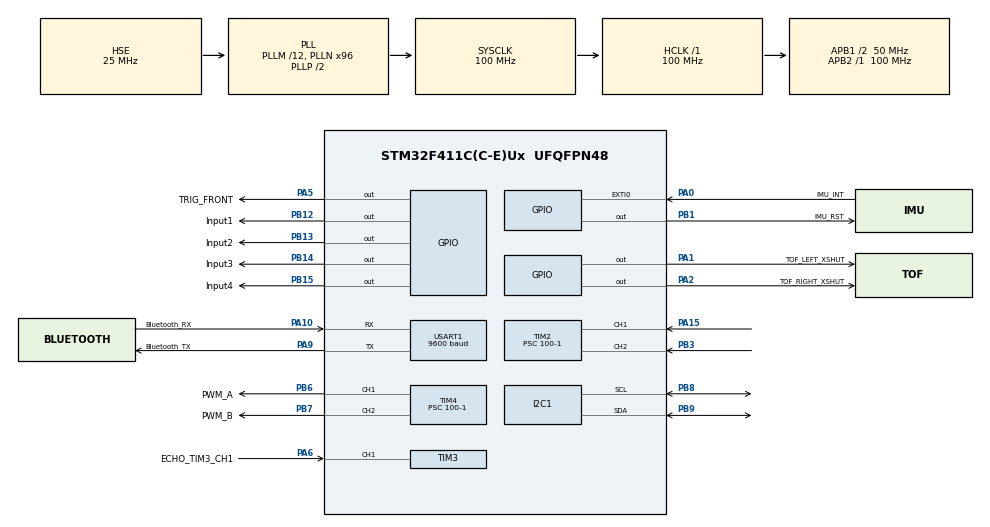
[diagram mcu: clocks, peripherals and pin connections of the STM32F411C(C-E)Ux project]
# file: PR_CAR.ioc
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FREERTOS.Queues01=uartQ,16,uint8_t,0,Dynamic,NULL,NULL
FREERTOS.Tasks01=MotorTask,24,256,StartDefaultTask,Default,NULL,Dynamic,NULL,NULL;SensorTask,8,256,StartTask02,Default,NULL,Dynamic,NULL,NULL;BluetoothTask,8,384,StartTask03,Default,NULL,Dynamic,NULL,NULL
FREERTOS.configUSE_NEWLIB_REENTRANT=1
IWDG.Prescaler=IWDG_PRESCALER_16
Mcu.Family=STM32F4
Mcu.Name=STM32F411C(C-E)Ux
Mcu.Package=UFQFPN48
NVIC.EXTI0_IRQn=true\:5\:0\:true\:false\:true\:true\:true\:true\:true
NVIC.PriorityGroup=NVIC_PRIORITYGROUP_4
NVIC.TIM2_IRQn=true\:5\:0\:false\:false\:true\:true\:true\:true\:true
NVIC.TIM3_IRQn=true\:5\:0\:false\:false\:true\:true\:true\:true\:true
NVIC.USART1_IRQn=true\:5\:0\:false\:false\:true\:true\:true\:true\:true
PA0-WKUP.GPIO_Label=IMU_INT
PA0-WKUP.GPIO_PuPd=GPIO_PULLDOWN
PA0-WKUP.Signal=GPXTI0
PA1.GPIO_Label=TOF_LEFT_XSHUT
PA1.Signal=GPIO_Output
PA10.GPIO_Label=Bluetooth_RX
PA10.Mode=Asynchronous
PA10.Signal=USART1_RX
PA13.Mode=Serial_Wire
PA13.Signal=SYS_JTMS-SWDIO
PA14.Mode=Serial_Wire
PA14.Signal=SYS_JTCK-SWCLK
PA15.Signal=S_TIM2_CH1_ETR
PA2.GPIO_Label=TOF_RIGHT_XSHUT
PA2.Signal=GPIO_Output
PA5.GPIO_Label=TRIG_FRONT
PA5.Signal=GPIO_Output
PA6.GPIO_Label=ECHO_TIM3_CH1
PA6.Signal=S_TIM3_CH1
PA9.GPIO_Label=Bluetooth_TX
PA9.Mode=Asynchronous
PA9.Signal=USART1_TX
PB1.GPIO_Label=IMU_RST
PB1.PinState=GPIO_PIN_SET
PB1.Signal=GPIO_Output
PB12.GPIO_Label=Input1
PB12.Signal=GPIO_Output
PB13.GPIO_Label=Input2
PB13.Signal=GPIO_Output
PB14.GPIO_Label=Input3
PB14.Signal=GPIO_Output
PB15.GPIO_Label=Input4
PB15.Signal=GPIO_Output
PB3.Signal=S_TIM2_CH2
PB6.GPIO_Label=PWM_A
PB6.Signal=S_TIM4_CH1
PB7.GPIO_Label=PWM_B
PB7.Signal=S_TIM4_CH2
PB8.Mode=I2C
PB8.Signal=I2C1_SCL
PB9.Mode=I2C
PB9.Signal=I2C1_SDA
PH0\ -\ OSC_IN.Mode=HSE-External-Oscillator
PH0\ -\ OSC_IN.Signal=RCC_OSC_IN
PH1\ -\ OSC_OUT.Mode=HSE-External-Oscillator
PH1\ -\ OSC_OUT.Signal=RCC_OSC_OUT
ProjectManager.HeapSize=0x200
ProjectManager.StackSize=0x400
ProjectManager.TargetToolchain=CMake
RCC.48MHZClocksFreq_Value=50000000
RCC.AHBFreq_Value=100000000
RCC.APB1CLKDivider=RCC_HCLK_DIV2
RCC.APB1Freq_Value=50000000
RCC.APB1TimFreq_Value=100000000
RCC.APB2Freq_Value=100000000
RCC.APB2TimFreq_Value=100000000
RCC.CortexFreq_Value=100000000
RCC.HCLKFreq_Value=100000000
RCC.HSE_VALUE=25000000
RCC.HSI_VALUE=16000000
RCC.LSE_VALUE=32768
RCC.PLLM=12
RCC.PLLN=96
RCC.PLLSourceVirtual=RCC_PLLSOURCE_HSE
RCC.SYSCLKFreq_VALUE=100000000
RCC.SYSCLKSource=RCC_SYSCLKSOURCE_PLLCLK
RCC.VCOOutputFreq_Value=200000000
SH.S_TIM2_CH1_ETR.0=TIM2_CH1,Input_Capture1_from_TI1
SH.S_TIM2_CH2.0=TIM2_CH2,Input_Capture2_from_TI2
SH.S_TIM3_CH1.0=TIM3_CH1,Input_Capture1_from_TI1
SH.S_TIM4_CH1.0=TIM4_CH1,PWM Generation1 CH1
SH.S_TIM4_CH2.0=TIM4_CH2,PWM Generation2 CH2
TIM2.Channel-Input_Capture1_from_TI1=TIM_CHANNEL_1
TIM2.Channel-Input_Capture2_from_TI2=TIM_CHANNEL_2
TIM2.ICFilter_CH1=8
TIM2.ICFilter_CH2=8
TIM2.Prescaler=100-1
TIM3.Channel-Input_Capture1_from_TI1=TIM_CHANNEL_1
TIM3.Prescaler=100-1
TIM4.AutoReloadPreload=TIM_AUTORELOAD_PRELOAD_ENABLE
TIM4.Channel-PWM\ Generation1\ CH1=TIM_CHANNEL_1
TIM4.Channel-PWM\ Generation2\ CH2=TIM_CHANNEL_2
TIM4.Period=1000-1
TIM4.Prescaler=100-1
USART1.BaudRate=9600
USART1.VirtualMode=VM_ASYNC
VP_FREERTOS_VS_CMSIS_V2.Mode=CMSIS_V2
VP_IWDG_VS_IWDG.Mode=IWDG_Activate
VP_TIM2_VS_ClockSourceINT.Mode=Internal
VP_TIM3_VS_ClockSourceINT.Mode=Internal
VP_TIM4_VS_ClockSourceINT.Mode=Internal
board=custom

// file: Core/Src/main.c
/* USER CODE BEGIN Header */
/**
  ******************************************************************************
  * @file           : main.c
  * @brief          : Main program body
  ******************************************************************************
  * @attention
  *
  * Copyright (c) 2026 STMicroelectronics.
  * All rights reserved.
  *
  * This software is licensed under terms that can be found in the LICENSE file
  * in the root directory of this software component.
  * If no LICENSE file comes with this software, it is provided AS-IS.
  *
  ******************************************************************************
  */
/* USER CODE END Header */
#include "main.h"
#include "cmsis_os.h"
#include "i2c.h"
#include "iwdg.h"
#include "tim.h"
#include "usart.h"
#include "gpio.h"

/* USER CODE BEGIN Includes */

#include "motor.h"   /* Motor_Init + Error_Handler의 Car_Stop */
#include "bno055.h"
#include "debug.h"   /* DebugMonitor_t dbg (dbg.imu_ok 기록) */

/* USER CODE END Includes */

/* USER CODE BEGIN PD */

/* ============ FreeRTOS 구조 (애플리케이션 로직은 전부 main 밖) ============
 * - 초음파 측정/캡처 ISR  → Core/Src/ultra.c
 * - 태스크(SensorTask 측정·필터·IMU폴링 / MotorTask 제어·IWDG) → Core/Src/freertos.c
 * - 주행 상태머신+조향    → Core/Src/drive.c (노브는 drive.h 단일 블록)
 * 여기 main.c는 HAL/페리프 초기화 + 커널 기동만 담당 */

/* USER CODE END PD */

/* USER CODE BEGIN PV */

/* 디버그 미러는 debug.h의 DebugMonitor_t dbg로 통합 (정의 drive.c). dbg.imu_ok만 여기서 기록 */

/* USER CODE END PV */

void SystemClock_Config(void);
void MX_FREERTOS_Init(void);
/* USER CODE BEGIN PFP */

/* 초음파 캡처 콜백/측정/필터 → ultra.c, 테스트 시퀀스 → freertos.c(MotorTask)로 이동 */

/* USER CODE END PFP */

int main(void)
{

  /* MCU Configuration--------------------------------------------------------*/

  /* Reset of all peripherals, Initializes the Flash interface and the Systick. */
  HAL_Init();

  /* Configure the system clock */
  SystemClock_Config();

  /* Initialize all configured peripherals */
  MX_GPIO_Init();
  MX_TIM3_Init();
  MX_TIM4_Init();
  MX_I2C1_Init();
  MX_IWDG_Init();
  MX_USART1_UART_Init();
  MX_TIM2_Init();
  /* USER CODE BEGIN 2 */

  HAL_TIM_Base_Start(&htim2);    /* delay_us 타임베이스(TIM2 free-run 1µs 32-bit — 구 TIM11 승계).
                                    휠 엔코더 캡처(encoder.c)와 공유 → 카운터 리셋 금지.
                                    TIM3 IC start는 ultra.c Ultra_Init(SensorTask) */

  Motor_Init();   /* TIM4 PWM start + 모터 정지 상태로 초기화 */

  /* BNO055는 커널 시작 전에 초기화(HAL_Delay ~800ms) — pre-kernel이라 결정적·안전.
   * 실패해도 주행은 계속(거리-only). IWDG 예산: 위 MX_IWDG_Init(2.048s) 시동 후
   * 본 Init ~800ms + 커널 기동 + SensorTask 첫 사이클(수십ms) → MotorTask 첫 refresh까지 여유 */
  dbg.imu_ok = BNO055_Init() ? 1 : 0;   /* RST→CHIP_ID 확인→IMU모드 */

  /* IMU 초기화가 사용한 watchdog 예산을 커널 시작 전에 다시 확보한다. */
  HAL_IWDG_Refresh(&hiwdg);

  /* USER CODE END 2 */

  /* Init scheduler */
  osKernelInitialize();  /* Call init function for freertos objects (in cmsis_os2.c) */
  MX_FREERTOS_Init();

  /* Start scheduler */
  osKernelStart();

  /* We should never get here as control is now taken by the scheduler */

  /* Infinite loop */
  /* USER CODE BEGIN WHILE */
  while (1)
  {
    /* 도달 불가 — osKernelStart()가 제어를 인계. 구 슈퍼루프(측정/필터/IMU/제어)는
     * freertos.c의 SensorTask/MotorTask + ultra.c로 전부 이전됨 */
    /* USER CODE END WHILE */

  }
}

void SystemClock_Config(void)
{
  RCC_OscInitTypeDef RCC_OscInitStruct = {0};
  RCC_ClkInitTypeDef RCC_ClkInitStruct = {0};

  /** Configure the main internal regulator output voltage
  */
  __HAL_RCC_PWR_CLK_ENABLE();
  __HAL_PWR_VOLTAGESCALING_CONFIG(PWR_REGULATOR_VOLTAGE_SCALE1);

  /** Initializes the RCC Oscillators according to the specified parameters
  * in the RCC_OscInitTypeDef structure.
  */
  RCC_OscInitStruct.OscillatorType = RCC_OSCILLATORTYPE_LSI|RCC_OSCILLATORTYPE_HSE;
  RCC_OscInitStruct.HSEState = RCC_HSE_ON;
  RCC_OscInitStruct.LSIState = RCC_LSI_ON;
  RCC_OscInitStruct.PLL.PLLState = RCC_PLL_ON;
  RCC_OscInitStruct.PLL.PLLSource = RCC_PLLSOURCE_HSE;
  RCC_OscInitStruct.PLL.PLLM = 12;
  RCC_OscInitStruct.PLL.PLLN = 96;
  RCC_OscInitStruct.PLL.PLLP = RCC_PLLP_DIV2;
  RCC_OscInitStruct.PLL.PLLQ = 4;
  if (HAL_RCC_OscConfig(&RCC_OscInitStruct) != HAL_OK)
  {
    Error_Handler();
  }

  /** Initializes the CPU, AHB and APB buses clocks
  */
  RCC_ClkInitStruct.ClockType = RCC_CLOCKTYPE_HCLK|RCC_CLOCKTYPE_SYSCLK
                              |RCC_CLOCKTYPE_PCLK1|RCC_CLOCKTYPE_PCLK2;
  RCC_ClkInitStruct.SYSCLKSource = RCC_SYSCLKSOURCE_PLLCLK;
  RCC_ClkInitStruct.AHBCLKDivider = RCC_SYSCLK_DIV1;
  RCC_ClkInitStruct.APB1CLKDivider = RCC_HCLK_DIV2;
  RCC_ClkInitStruct.APB2CLKDivider = RCC_HCLK_DIV1;

  if (HAL_RCC_ClockConfig(&RCC_ClkInitStruct, FLASH_LATENCY_3) != HAL_OK)
  {
    Error_Handler();
  }
}

/* USER CODE BEGIN 4 */

/* HAL_GPIO_EXTI_Callback(IMU_INT 카운터)은 freertos.c로 이동 */

/* USER CODE END 4 */

void Error_Handler(void)
{
  /* USER CODE BEGIN Error_Handler_Debug */
  /* User can add his own implementation to report the HAL error return state */
  Car_Stop();   /* 오류 발생 시 마지막 PWM/방향 상태가 남지 않도록 모터 정지 */
  __disable_irq();
  while (1)
  {
  }
  /* USER CODE END Error_Handler_Debug */
}

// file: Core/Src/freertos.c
/* USER CODE BEGIN Header */
/**
  ******************************************************************************
  * File Name          : freertos.c
  * Description        : Code for freertos applications
  ******************************************************************************
  * @attention
  *
  * Copyright (c) 2026 STMicroelectronics.
  * All rights reserved.
  *
  * This software is licensed under terms that can be found in the LICENSE file
  * in the root directory of this software component.
  * If no LICENSE file comes with this software, it is provided AS-IS.
  *
  ******************************************************************************
  */
/* USER CODE END Header */

#include "FreeRTOS.h"
#include "task.h"
#include "main.h"
#include "cmsis_os.h"

/* USER CODE BEGIN Includes */
#include "iwdg.h"    /* hiwdg — MotorTask가 큐 수신 성공 시에만 refresh */
#include "motor.h"
#include "drive.h"   /* DriveInputs(큐 메시지 그대로 사용) + 튜닝 노브 */
#include "debug.h"   /* DebugMonitor_t dbg (SWD 미러 통합) */
#include "bno055.h"
#include "ultra.h"
#include "vl53l0x.h" /* 좌/우 측면 ToF (I2C1 공유 — BNO055와 동일 태스크 문맥 직렬화) */
#include "i2c.h"     /* hi2c1 */
#include "usart.h"   /* huart1 — 블루투스 1바이트 IT 수신 + 텔레메트리 IT 송신 */
#include "encoder.h" /* SG-207 휠 엔코더 ×2 (TIM2 CH1=PA15 / CH2=PB3) — 속도 측정 */
#include <stdio.h>   /* snprintf — 텔레메트리 프레임 조립 (정수 전용, float printf 금지) */
#include <string.h>  /* strchr/strcmp — '#KEY=VAL' 파서 */
#include <stdlib.h>  /* atoi */
/* USER CODE END Includes */

/* USER CODE BEGIN PD */

/* MotorTask 큐 수신 timeout [ms]: 정상 최악 센서 사이클(front 6 + left 6 + front 6 + right 6
 * + IMU timeout/복구 여유)의 약 2배 이상. 초과 = 센서 파이프라인 침묵 → Car_Stop + IWDG refresh 생략
 * → 2.048s 지속 시 워치독 리셋 (구 슈퍼루프의 '루프 멈춤=리셋' 의미 보존) */
#define DRIVE_Q_TIMEOUT_MS  150U

/* ---- 측면 ToF(VL53L0X) ---- */
#define TOF_LEFT_ADDR_8BIT  0x60U  /* 좌측 주소 재배치(0x30<<1). 우측은 디폴트 0x52 유지 — 버스 충돌 해소 */
#define TOF_CAP_MM          1000U  /* 상한 캡[mm]: out-of-range(8190/8191)/장거리 지터를 코스 스케일로 클램프 */
#define TOF_BUDGET_US       20000U /* 측정 버짓 = 샘플 주기. 디폴트 33ms는 제어루프(~20ms)보다 느려 측면
                                      반응지연 병목(64% duty서 지연당 3~4.5cm 이동 = 반발존 3cm 초과 → 벽 hug).
                                      20ms(ST 고속 프로파일)로 루프당 새 샘플 1개 확보 (IMG_2977 대응) */
#define TOF_STALE_MS        150U   /* 새 샘플 무갱신 상한. 버짓 20ms의 ~7배 초과 = 센서 정체 → 트임 만료 */

/* ---- 측면 ToF 초근접 신뢰 게이트 (§5.21) ----
 * VL53L0X 실효 사거리(~1.2m, 20ms 버짓·판지 사면은 그 이하) 밖 = "타깃 없음"인데,
 * 칩이 status=valid인 0~40mm 쓰레기값을 간헐 반환한다 (광장 정지 재현: L218 안정
 * vs R 0→37→20→32mm 플리커). 실타깃 초근접은 (a) 접근 연속(직전 median이 이미
 * 근거리)이거나 (b) 표본이 안정(연속 지터 ≤12mm)이다 — 어느 쪽도 아닌 고립·불안정
 * 초근접은 "옆에 아무것도 없음"으로 공표한다. */
#define TOF_NEAR_TRUST_MM    60U   /* 이 미만 초근접값은 맥락/안정성 검증 대상 */
#define TOF_NEAR_CTX_CM      12U   /* 직전 median이 이 안이면 접근 연속 — 즉시 신뢰 */
#define TOF_NEAR_JITTER_MM   12U   /* 연속 suspect 표본 간 허용 지터 */
#define TOF_NEAR_CONFIRM_N    3U   /* 고립 초근접이 실타깃으로 인정될 안정 연속 표본 수 */

/* §5.23 방지턱 피치 게이트: 턱에서 노즈가 들리거나 처박히면 저장착 초음파가 바닥/
 * 허공을 벽으로 읽는다 (mapp_v2 18~24s 검정테이프 구간 F3~16 폭풍 → 가짜 판정턴).
 * 피치가 이 트림을 벗어난 프레임의 전방 에코는 무효 — FRONT_FAIL_LIMIT 연속이면
 * 기존 규칙대로 open 처리. IMU 사망 시 게이트 자동 비활성 (백스톱 불변식). 전방이
 * 자주 먹통이면 dbg.pitch 평지 오프셋부터 확인 후 문턱 상향. */
#define FRONT_PITCH_MAX_DEG   6.0f
#define TOF_LOOP_DELAY_MS   5U     /* SensorTask 루프 양보. 측면이 논블로킹化돼 사라진 대기 보상(CPU 독점 방지) */

/* ---- 텔레메트리 (아키텍처 §4 / dash_board.html 프로토콜) ----
 * TX 프레임: "T,<t_ms>,<f cm>,<L mm>,<R mm>,<h×10>,<vL>,<vR>,<st>,<fl>\n"  (정수만, 최악 ~46B)
 *   st: 0~6 = DriveState, 7 = MANUAL(수동 또는 전원 OFF) — dash_board STATE_NAMES와 1:1 고정
 *   fl: b0 f_valid, b1 side_valid, b2 imu_live, b3 sys_power, b4 sys_mode
 * RX 명령: 레거시 1바이트('1','0','A','M','U','D','L','R','S') +
 *          '#KEY=VAL'+LF 라인 (VT/TEL/HZ/ML/MR — 라인버퍼 24B, 500ms 타임아웃 리셋)
 * 9600bps에서 46B ≈ 48ms — 10Hz(주기 100ms)면 점유 ~48%: 동작하나 여유 없음 → TX는 반드시
 * IT(논블로킹) + 직전 송신 미완료 시 프레임 스킵(dbg.tel_skip). 보레이트 승격은 R3 옵션 */
#define BT_LINE_TIMEOUT_MS  500U   /* '#' 라인 모드 미완성 버퍼 만료 */
#define TEL_HZ_DEFAULT      10U    /* 기본 프레임 레이트 [Hz] (dash_board/앱 처리 상한) */
#define TEL_HZ_MAX          20U

/* USER CODE END PD */

/* USER CODE BEGIN Variables */

/* SensorTask → MotorTask value queue. Depth 2 allows a full frame and one danger event. */
static osMessageQueueId_t driveQ = NULL;

/* ---- 디버그 미러: debug.h의 DebugMonitor_t dbg로 통합 (정의는 drive.c 1곳). 접근 dbg.<member> ---- */

/* ---- 블루투스 원격제어 상태 (BluetoothTask 단일 writer, MotorTask reader) ----
 * 1바이트/int8 원자 접근 → 뮤텍스 불요. volatile = 태스크간 가시성(컴파일러 캐싱 차단) */
volatile uint8_t sys_power = 0;     /* 0=OFF(모터 강제정지) 1=ON. 부팅 OFF(안전) */
volatile uint8_t sys_mode  = 0;     /* 0=자율주행(Drive_Update) 1=수동(manual_* 인가) */
volatile int8_t  manual_left  = 0;  /* 수동 좌 듀티 [-100..100] (+전진 / -후진) */
volatile int8_t  manual_right = 0;  /* 수동 우 듀티 */
volatile uint8_t bt_rx_byte   = 0;  /* USART1 1바이트 IT 수신 버퍼 (RxCpltCallback → uartQ) */

/* SensorTask writes; BluetoothTask reads for telemetry. */
static volatile uint16_t dist_left  = TOF_CAP_MM;
static volatile uint16_t dist_right = TOF_CAP_MM;

/* ---- 텔레메트리 미러 (아키텍처 §2.4 D3/D4 — 필드별 단일 작성자 volatile, 뮤텍스 0 유지) ----
 * 16-bit 정렬 store = M4 원자. 표시용이라 필드 간 ≤1사이클 시차 허용 → 락프리 */
static volatile uint16_t tel_h_x10  = 0;    /* SensorTask: heading×10 [0.1° 단위, 0~3599] */
static volatile uint8_t  tel_sflags = 0;    /* SensorTask: b0 f_valid, b1 side_valid(ToF 양측 기동 성공), b2 imu_live */
static volatile int16_t  tel_vl     = 0;    /* MotorTask: 좌 휠 속도 [cm/s, 부호 = 최근 명령 방향] */
static volatile int16_t  tel_vr     = 0;    /* MotorTask: 우 휠 속도 */
static volatile uint8_t  tel_st     = 7U;   /* MotorTask: 0~6 DriveState / 7 = MANUAL(수동·OFF) */
static volatile int16_t  tel_steer  = 0;    /* MotorTask: 조향 출력 dbg.steer 반올림 [%duty, ±CENTER_STEER_MAX]. 튜닝: 리밋사이클(weaving) 주파수/진폭 관찰용 */
static volatile uint8_t  tel_on     = 1U;   /* BluetoothTask: #TEL=0/1 (기본 ON — 연결 즉시 프레임 흐름) */
static volatile uint8_t  tel_hz     = TEL_HZ_DEFAULT; /* BluetoothTask: #HZ=1..20 */

/* USER CODE END Variables */
/* Definitions for MotorTask */
osThreadId_t MotorTaskHandle;
const osThreadAttr_t MotorTask_attributes = {
  .name = "MotorTask",
  .stack_size = 256 * 4,
  .priority = (osPriority_t) osPriorityNormal,
};
/* Definitions for SensorTask */
osThreadId_t SensorTaskHandle;
const osThreadAttr_t SensorTask_attributes = {
  .name = "SensorTask",
  .stack_size = 256 * 4,
  .priority = (osPriority_t) osPriorityLow,
};
/* Definitions for BluetoothTask */
osThreadId_t BluetoothTaskHandle;
const osThreadAttr_t BluetoothTask_attributes = {
  .name = "BluetoothTask",
  .stack_size = 384 * 4,   /* 256→384: 텔레메트리 snprintf 여유(§2.2). .ioc Tasks01에도 384 반영됨 */
  .priority = (osPriority_t) osPriorityLow,
};
/* Definitions for uartQ */
osMessageQueueId_t uartQHandle;
const osMessageQueueAttr_t uartQ_attributes = {
  .name = "uartQ"
};

/* USER CODE BEGIN FunctionPrototypes */

#if MOTOR_TEST
/* 테스트 시퀀스 전용 대기: IWDG timeout(2.048s)보다 긴 무갱신 대기가 흐르면 시퀀스 중간
 * 리셋 → '전진만 반복' 폭주. 10ms 단위(osDelay)로 갱신하며 대기 (구 test_delay의 RTOS판) */
static void test_delay(uint32_t ms)
{
    for (uint32_t t = 0; t < ms; t += 10U)
    {
        HAL_IWDG_Refresh(&hiwdg);
        osDelay(10);
    }
}
#endif

#if !MOTOR_TEST
/* ---- 측면 ToF 디바이스 (SensorTask 단독 소유) ----
 * 두 센서 모두 부팅 시 디폴트 0x52 — XSHUT 순차 기동으로 좌측만 0x60으로 재배치 */
static VL53L0X tof_left  = { .hi2c = &hi2c1, .addr = VL53L0X_ADDR_DEFAULT_8BIT, .stop_variable = 0 };
static VL53L0X tof_right = { .hi2c = &hi2c1, .addr = VL53L0X_ADDR_DEFAULT_8BIT, .stop_variable = 0 };
static uint8_t tof_left_ok  = 0;   /* Init+연속모드 성공 여부. 실패 센서는 트임(MAX) 고정 */
static uint8_t tof_right_ok = 0;

/* XSHUT 시퀀스로 주소 충돌 해소 후 양쪽 초기화 + 연속측정 시작.
 * 순서: 둘 다 리셋 → 좌만 기동 → 좌 주소 0x52→0x60 → 우 기동(0x52 유지).
 * VL53L0X 주소는 내부 RAM이라 XSHUT low/전원 리셋마다 디폴트 복귀 → 부팅마다 이 시퀀스 필수.
 * osDelay 사용 = 스케줄러 기동 후(SensorTask 문맥) 호출 전제 */
static void Init_ToF_Sensors(void)
{
    HAL_GPIO_WritePin(TOF_LEFT_XSHUT_GPIO_Port,  TOF_LEFT_XSHUT_Pin,  GPIO_PIN_RESET);
    HAL_GPIO_WritePin(TOF_RIGHT_XSHUT_GPIO_Port, TOF_RIGHT_XSHUT_Pin, GPIO_PIN_RESET);
    osDelay(10);

    HAL_GPIO_WritePin(TOF_LEFT_XSHUT_GPIO_Port, TOF_LEFT_XSHUT_Pin, GPIO_PIN_SET);
    osDelay(10);   /* t_boot ~1.2ms — 여유 포함 */
    tof_left_ok  = VL53L0X_SetAddress(&tof_left, TOF_LEFT_ADDR_8BIT);   /* 우측 기동 전 = 버스에 좌측뿐 */
    tof_left_ok &= VL53L0X_Init(&tof_left);

    HAL_GPIO_WritePin(TOF_RIGHT_XSHUT_GPIO_Port, TOF_RIGHT_XSHUT_Pin, GPIO_PIN_SET);
    osDelay(10);
    tof_right_ok = VL53L0X_Init(&tof_right);    /* 디폴트 0x52 — 좌측은 이미 0x60이라 충돌 없음 */

    /* 버짓 20ms 적용 — 실패해도 디폴트 33ms로 동작하므로 ok 플래그는 유지 */
    if (tof_left_ok)  (void)VL53L0X_SetTimingBudget(&tof_left,  TOF_BUDGET_US);
    if (tof_right_ok) (void)VL53L0X_SetTimingBudget(&tof_right, TOF_BUDGET_US);

    if (tof_left_ok)  tof_left_ok  = VL53L0X_StartContinuous(&tof_left);
    if (tof_right_ok) tof_right_ok = VL53L0X_StartContinuous(&tof_right);
}

static uint8_t inc_sat_u8(uint8_t v) { return (v < 255U) ? (uint8_t)(v + 1U) : v; }

/* 측면 ToF 1회 폴링 → mm 미러/cm hist 갱신.
 * 반환값 3상 처리: 1=새 샘플(캡 후 기록), 0=아직(버짓 ~33ms vs 루프 ~20ms — 정상, 직전값 유지),
 * -1=I2C 에러(연속 SIDE_FAIL_LIMIT회 → 트임 만료: stale 근접값이 조향을 오래 붙드는 것 차단).
 * 무에러 정체(TOF_STALE_MS 무갱신)도 만료 — 죽지도 살지도 않은 센서의 옛값 고착 방지 */
static void tof_record_side(VL53L0X *dev,
                            uint8_t alive,
                            uint16_t hist[SIDE_MED_WIN],
                            uint8_t *miss,
                            uint8_t *has_sample,
                            uint32_t *t_fresh,
                            uint8_t *susp_n,
                            uint16_t *susp_mm,
                            volatile uint16_t *out_mm,
                            uint32_t now)
{
    if (!alive)
    {
        *out_mm = TOF_CAP_MM;
        for (uint8_t i = 0U; i < SIDE_MED_WIN; i++) hist[i] = ULTRA_MAX_CM;
        return;
    }

    uint16_t mm;
    int8_t st = VL53L0X_PollRangeMM(dev, &mm);
    if (st > 0)
    {
        *miss = 0U;
        *has_sample = 1U;
        *t_fresh = now;
        if (mm > TOF_CAP_MM) mm = TOF_CAP_MM;           /* ceiling: out-of-range(8190) 지터 캡 */

        /* §5.21 초근접 신뢰 게이트: status를 통과한 잔존 쓰레기(고립·불안정 초근접)를
         * "타깃 없음"으로 공표. 실타깃은 접근 연속 or 안정 연속으로 즉시/60ms 내 통과. */
        if (mm < TOF_NEAR_TRUST_MM)
        {
            uint8_t continuous = (uint8_t)(median_n(hist, SIDE_MED_WIN) < TOF_NEAR_CTX_CM);
            if (!continuous)
            {
                uint16_t jump = (mm > *susp_mm) ? (uint16_t)(mm - *susp_mm)
                                                : (uint16_t)(*susp_mm - mm);
                uint8_t stable = (uint8_t)(*susp_n > 0U && jump <= TOF_NEAR_JITTER_MM);
                *susp_n = stable ? inc_sat_u8(*susp_n) : 1U;
                *susp_mm = mm;
                if (*susp_n < TOF_NEAR_CONFIRM_N)
                {
                    *out_mm = TOF_CAP_MM;
                    for (int i = SIDE_MED_WIN - 1; i > 0; i--) hist[i] = hist[i - 1];
                    hist[0] = ULTRA_MAX_CM;
                    return;
                }
            }
            else
            {
                *susp_n = 0U;
            }
        }
        else
        {
            *susp_n = 0U;
        }

        *out_mm = mm;
        uint16_t cm = mm / 10U;
        if (cm > ULTRA_MAX_CM) cm = ULTRA_MAX_CM;       /* drive 계층 스케일(cm, 80 상한) 정합 */
        if (cm == 0U) cm = 1U;                          /* 0은 center_sanitize가 '트임'으로 오독 — 1cm 바닥 */
        for (int i = SIDE_MED_WIN - 1; i > 0; i--) hist[i] = hist[i - 1];
        hist[0] = cm;
    }
    else if (st < 0)
    {
        if (*miss < 255U && ++(*miss) >= SIDE_FAIL_LIMIT)
        {
            *out_mm = TOF_CAP_MM;
            for (uint8_t i = 0U; i < SIDE_MED_WIN; i++) hist[i] = ULTRA_MAX_CM;
        }
    }
    else if ((now - *t_fresh) > TOF_STALE_MS)
    {
        *out_mm = TOF_CAP_MM;
        for (uint8_t i = 0U; i < SIDE_MED_WIN; i++) hist[i] = ULTRA_MAX_CM;
    }
}

static void sensor_record_front(uint8_t valid,
                                uint16_t cm,
                                uint16_t hist[FRONT_MED_WIN],
                                uint8_t *front_miss,
                                uint16_t *front_filtered)
{
    if (valid)
    {
        *front_miss = 0U;
        for (int i = FRONT_MED_WIN - 1; i > 0; i--) hist[i] = hist[i - 1];
        hist[0] = cm;
    }
    else if (*front_miss < 255U)
    {
        (*front_miss)++;
        if (*front_miss >= FRONT_FAIL_LIMIT)
        {
            for (uint8_t i = 0U; i < FRONT_MED_WIN; i++) hist[i] = ULTRA_MAX_CM;
        }
    }

    *front_filtered = median_n(hist, FRONT_MED_WIN);
    dbg.front_miss = *front_miss;
}

/* Front-only frames are urgent brake events, not normal FSM samples. */
static uint8_t sensor_put_front_danger_event(uint16_t f,
                                             uint8_t f_valid,
                                             uint8_t front_miss,
                                             float heading)
{
    if (f_valid && f < FRONT_DANGER_CM)
    {
        DriveInputs early;
        early.f          = f;
        early.l          = ULTRA_MAX_CM;
        early.r          = ULTRA_MAX_CM;
        early.f_valid    = f_valid;
        early.side_valid = 0U;
        early.left_valid = 0U;
        early.right_valid = 0U;
        early.front_miss = front_miss;
        early.heading    = heading;
        early.imu_live   = 0U;
        early.now        = HAL_GetTick();
        if (osMessageQueuePut(driveQ, &early, 0U, 0U) == osOK) return 1U;
        dbg.q_drop++;
    }
    return 0U;
}

/* ---- BNO055 heading 180° 재영점 (SensorTask 단독 소유 — 뮤텍스 불요) ----
 * 부팅 후 첫 유효 Yaw를 180°로 영점 보정: 시작 자세 근처에서 0/360 경계를 밟지 않아
 * 직진 중 값이 170~190° 범위에서 연속으로 움직인다 (359↔0 점프 제거).
 * 주의 1: drive.c 제어는 wrap180() 차분만 사용 → 오프셋 유무와 제어 거동 무관.
 * 주의 2: BNO055_Init()을 런타임에 재호출하는 코드를 추가하면 칩 내부 heading이
 *         0으로 리셋되므로 yaw_offset_latched도 함께 0으로 클리어할 것.
 * 부수 효과: 보정 후 heading이 항상 [0,360) 보장 → tel_h_x10 음수 캐스팅 위험 제거 */
static float   initial_yaw_offset = 0.0f;   /* 부팅 후 첫 유효 Raw Yaw [deg] */
static uint8_t yaw_offset_latched = 0U;     /* 1 = 영점 래치 완료 */

static bool Sensor_ReadHeading(BNO055_Euler *e)
{
    if (!BNO055_ReadEuler(e)) return false;   /* 실패 시 *e 미변경 — 직전값 유지 규약 그대로 */

    if (!yaw_offset_latched)
    {
        initial_yaw_offset = e->heading;      /* 첫 유효 샘플 = 새 영점 */
        yaw_offset_latched = 1U;
    }

    /* raw − offset + 180 → [0, 360) 정규화.
     * raw−offset ∈ (−360, 360) → +180 후 범위 (−180, 540) = 방어 분기 각 1회로 충분 */
    float h = (e->heading - initial_yaw_offset) + 180.0f;
    if      (h >= 360.0f) h -= 360.0f;
    else if (h <    0.0f) h += 360.0f;
    e->heading = h;
    return true;
}
#endif

/* ---- 블루투스 텔레메트리/파서 헬퍼 (BluetoothTask 단독 소유) ----
 * ⚠ 반드시 이 USER CODE 블록 안에 둘 것 — CubeMX 재생성 시 블록 밖 코드는 삭제된다 */

static char     bt_line[24];      /* 아키텍처 §4.3: '#KEY=VAL' 라인버퍼 ≤24B */
static uint8_t  bt_llen  = 0;
static uint8_t  bt_lmode = 0;     /* 1 = '#' 수신 후 라인 조립 중 */
static uint32_t bt_t_line = 0;    /* 라인 시작 시각 — BT_LINE_TIMEOUT_MS 만료용 */

/* '#KEY=VAL' 파싱 → 원자 반영. 모터 직접 호출 금지 원칙 유지(변수 경유만).
 * VT는 속도 PI(R4) 전까지 저장만(dbg.v_target) — 대시보드 #VT 버튼이 에러 없이 동작. */
static void BT_ParseLine(char *s)
{
    char *eq = strchr(s, '=');
    if (eq == NULL) return;
    *eq = '\0';
    int v = atoi(eq + 1);

    if      (strcmp(s, "VT") == 0)  { dbg.v_target = (int16_t)v; }
    else if (strcmp(s, "TEL") == 0) { tel_on = (v != 0) ? 1U : 0U; }
    else if (strcmp(s, "HZ") == 0)  { if (v < 1) v = 1; if (v > (int)TEL_HZ_MAX) v = (int)TEL_HZ_MAX;
                                      tel_hz = (uint8_t)v; }
    else if (strcmp(s, "ML") == 0)  { if (sys_mode) { if (v > 100) v = 100; if (v < -100) v = -100;
                                      manual_left  = (int8_t)v; } }   /* R2 duty 스윕 캘리브용 */
    else if (strcmp(s, "MR") == 0)  { if (sys_mode) { if (v > 100) v = 100; if (v < -100) v = -100;
                                      manual_right = (int8_t)v; } }
    /* 미정의 KEY 무시 — 프로토콜 전방 호환 */
}

/* 수신 1바이트 처리: 라인 모드 우선, 아니면 레거시 1바이트 명령 */
static void BT_HandleByte(uint8_t b)
{
    if (bt_lmode)
    {
        if (b == '\n' || b == '\r')
        {
            bt_line[bt_llen] = '\0';
            BT_ParseLine(bt_line);
            bt_lmode = 0U;
        }
        else if (bt_llen < (uint8_t)(sizeof(bt_line) - 1U))
        {
            bt_line[bt_llen++] = (char)b;
        }
        else
        {
            bt_lmode = 0U;   /* 오버플로 → 라인 폐기 (프레이밍 재동기) */
        }
        return;
    }

    if (b == '#')
    {
        bt_lmode  = 1U;
        bt_llen   = 0U;
        bt_t_line = HAL_GetTick();
        return;
    }

    switch (b)
    {
      /* ---- 시스템 전원 ---- */
      case '1':                                  /* ON */
        sys_power = 1;
        break;
      case '0':                                  /* OFF: 수동값 리셋 + 정지(어느 모드든) */
        sys_power = 0;
        manual_left = 0;
        manual_right = 0;
        break;

      /* ---- 모터 모드 (모드 선택 = 전원 ON 커플링) ----
       * 앱에 '1'(전원 ON) 버튼이 없어 sys_power가 0에 묶여 모터가 강제정지하던 문제 수정.
       * 모드를 고르는 것 = 주행 의사 → sys_power=1. 부팅은 여전히 OFF(안전). 정지는 '0'. */
      case 'A':                                  /* 자율주행 */
        sys_mode = 0;
        sys_power = 1;
        break;
      case 'M':                                  /* 수동: 진입 시 정지값으로 시작(돌발 구동 방지) */
        sys_mode = 1;
        sys_power = 1;
        manual_left = 0;
        manual_right = 0;
        break;

      /* ---- 수동 조작 (Manual 모드 전용) ---- */
      case 'U': if (sys_mode) { manual_left =  80; manual_right =  80; } break;  /* 전진 */
      case 'D': if (sys_mode) { manual_left = -80; manual_right = -80; } break;  /* 후진 */
      case 'L': if (sys_mode) { manual_left = -60; manual_right =  60; } break;  /* 좌회전 */
      case 'R': if (sys_mode) { manual_left =  60; manual_right = -60; } break;  /* 우회전 */
      case 'S': if (sys_mode) { manual_left =   0; manual_right =   0; } break;  /* 정지 */

      default:                                   /* 미정의 바이트 무시 */
        break;
    }
}

/* 텔레메트리 프레임 조립 + IT 송신. 버퍼는 IT 송신 완료까지 유지 필요 → static.
 * 직전 프레임 송신 미완료(gState != READY)면 이번 프레임 스킵 — 9600bps 병목의 우아한 강등 */
static void BT_SendFrame(void)
{
    static char fb[64];

    if (huart1.gState != HAL_UART_STATE_READY)
    {
        dbg.tel_skip++;
        return;
    }

    uint8_t fl = (uint8_t)(tel_sflags
                         | (sys_power ? 0x08U : 0U)
                         | (sys_mode  ? 0x10U : 0U));
    int n = snprintf(fb, sizeof fb, "T,%lu,%u,%u,%u,%u,%d,%d,%u,%u,%d\n",
                     (unsigned long)HAL_GetTick(),
                     (unsigned)dbg.front,          /* 전방 [cm, 80 캡] */
                     (unsigned)dist_left,          /* 좌 ToF [mm, 1000 캡] */
                     (unsigned)dist_right,         /* 우 ToF [mm] */
                     (unsigned)tel_h_x10,          /* heading×10 [0.1°] */
                     (int)tel_vl, (int)tel_vr,     /* 휠 속도 [cm/s, 부호=명령방향] */
                     (unsigned)tel_st,             /* 0~6 DriveState / 7 MANUAL */
                     (unsigned)fl,                 /* 플래그: b0 f_valid b1 side_valid b2 imu_live b3 power b4 mode */
                     (int)tel_steer);              /* [추가] 조향 출력 [%duty] — 프레임 末 append (기존 idx0~9 불변, 앱 파서 하위호환) */
    if (n <= 0 || n >= (int)sizeof fb) return;

    /* USART1 ISR(RxCplt 재무장 Receive_IT)과 HAL 락 충돌 방지: 짧은 임계구역으로 배타.
     * 미보호 시 드물게 (a) TX가 HAL_BUSY 오탐, (b) RX 재무장 유실(수신 영구정지) 가능 */
    taskENTER_CRITICAL();
    HAL_StatusTypeDef st = HAL_UART_Transmit_IT(&huart1, (uint8_t *)fb, (uint16_t)n);
    taskEXIT_CRITICAL();

    if (st == HAL_OK) dbg.tel_tx++;
    else              dbg.tel_skip++;
}

/* USER CODE END FunctionPrototypes */

void StartDefaultTask(void *argument);
void StartTask02(void *argument);
void StartTask03(void *argument);

void MX_FREERTOS_Init(void); /* (MISRA C 2004 rule 8.1) */

void MX_FREERTOS_Init(void) {

  /* Create the queue(s) */
  /* creation of uartQ */
  uartQHandle = osMessageQueueNew (16, sizeof(uint8_t), &uartQ_attributes);

  /* USER CODE BEGIN RTOS_QUEUES */
  driveQ = osMessageQueueNew(2, sizeof(DriveInputs), NULL);
  /* 생성 실패(NULL) 시 put/get이 전부 에러 → MotorTask가 Car_Stop + refresh 생략 → IWDG 리셋.
   * heap_4 15KB에 큐 ~수십B라 실패 가능성 사실상 없음 — 별도 처리 불요 */

  /* 블루투스 수신 개시: 최초 1바이트 IT 무장 (이후 RxCpltCallback가 자가 재무장).
   * uartQ 생성 직후라 콜백 put 대상 존재. USART1은 스케줄러 전 init 완료 → 지금 무장 안전 */
  __HAL_UART_CLEAR_OREFLAG(&huart1);  /* 부팅 라인 글리치로 선-박힌 ORE 제거 후 무장 */
  HAL_UART_Receive_IT(&huart1, (uint8_t *)&bt_rx_byte, 1);
  /* USER CODE END RTOS_QUEUES */

  /* Create the thread(s) */
  /* creation of MotorTask */
  MotorTaskHandle = osThreadNew(StartDefaultTask, NULL, &MotorTask_attributes);

  /* creation of SensorTask */
  SensorTaskHandle = osThreadNew(StartTask02, NULL, &SensorTask_attributes);

  /* creation of BluetoothTask */
  BluetoothTaskHandle = osThreadNew(StartTask03, NULL, &BluetoothTask_attributes);

}

void StartDefaultTask(void *argument)
{
  /* USER CODE BEGIN StartDefaultTask */
  (void)argument;

#if MOTOR_TEST
  /* 바퀴 방향/속도/제동 눈 확인 + 수치 튜닝용. 센서 로직 건너뜀(SensorTask는 휴면).
   * test_delay 사용 필수: 무갱신 대기는 IWDG 리셋 → 시퀀스 중간 폭주 */
  for(;;)
  {
    Car_Forward(DRIVE_SPEED);   test_delay(1500);   /* 양쪽 다 전진하는지 확인 */
    Car_Brake();                test_delay(400);    /* 능동 제동: 코스트 대비 정지거리 육안 비교 */
    Car_Stop();                 test_delay(800);
    Car_PivotLeft(TURN_SPEED, TURN_INNER);   test_delay(1500);   /* IN1 전진 + IN3 후진소량 → 좌회전 */
    Car_Stop();                              test_delay(800);
    Car_PivotRight(TURN_SPEED, TURN_INNER);  test_delay(1500);   /* IN4 전진 + IN2 후진소량 → 우회전 */
    Car_Stop();                              test_delay(800);
    Car_Backward(DRIVE_SPEED);  test_delay(1500);
    Car_Stop();                 test_delay(800);
  }
#else
  /* 제어 소비자 = 모터 명령 유일 발행자 (폴트 핸들러의 Car_Stop 제외).
   * IWDG는 '신선한 센서 데이터가 흐를 때만' refresh — SensorTask 행/사망, 큐 단절,
   * 본 태스크 행 어느 쪽이든 2.048s 내 워치독 리셋 (구 슈퍼루프 fail-safe 의미 보존) */
  DriveInputs din;
  uint8_t prev_auto = 0;   /* 직전 루프가 자율 구동? M→A / OFF→A 재진입 edge 검출 */
  for(;;)
  {
    if (osMessageQueueGet(driveQ, &din, NULL, DRIVE_Q_TIMEOUT_MS) == osOK)
    {
      HAL_IWDG_Refresh(&hiwdg);   /* 센서 파이프라인 생존 = refresh (주행모드 무관) */

      /* === 모터 제어권 단일 분기 (경쟁 원천 차단; 발행자는 본 태스크 하나) === */
      if (sys_power == 0)
      {
        Car_Stop();                    /* 전원 OFF: 강제 정지 (최우선) */
        prev_auto = 0;
      }
      else if (sys_mode == 1)
      {
        Motor_SetWheels(manual_left, manual_right);  /* 수동: 앱 듀티 직접 인가 (음수=후진) */
        prev_auto = 0;
      }
      else                             /* sys_power==1 && sys_mode==0 → 자율주행 */
      {
        if (!prev_auto)                /* 수동/OFF에서 막 복귀 → 상태머신 리셋(스테일 상태 재개 방지) */
        {
          Drive_Init();
          prev_auto = 1;
        }
        Drive_Update(&din);            /* din.now 기반 비블로킹 제어. early front-only 프레임은 직전 PWM 유지 가능 */
      }
    }
    else
    {
      dbg.q_timeout++;
      Car_Stop();           /* 센서 침묵 동안 안전 정지. refresh 생략 → 지속 시 IWDG 리셋 */
    }

    /* --- 엔코더 속도 미러 (아키텍처 D2→D3: ISR 기록 → 본 태스크 환산 → 텔레메트리) ---
     * din 신선도 무관 매 루프 갱신: 전원 OFF 상태로 손으로 바퀴를 굴려도 dbg/대시보드에
     * 속도가 보여 R0 배선검증·R2 캘리브레이션이 재플래시 없이 가능하다.
     * 부호 = 단채널 한계로 '최근 구동 명령 방향'(motor_dir_*) 채택 (§3.2 명문화) */
    {
      uint32_t enc_now = HAL_GetTick();
      float vl = Encoder_SpeedCmps(ENC_LEFT,  enc_now);
      float vr = Encoder_SpeedCmps(ENC_RIGHT, enc_now);
      dbg.v_l   = vl;
      dbg.v_r   = vr;
      dbg.enc_l = Encoder_Edges(ENC_LEFT);
      dbg.enc_r = Encoder_Edges(ENC_RIGHT);
      tel_vl = (int16_t)((motor_dir_left  < 0) ? -(vl + 0.5f) : (vl + 0.5f));
      tel_vr = (int16_t)((motor_dir_right < 0) ? -(vr + 0.5f) : (vr + 0.5f));
      tel_st = (sys_power == 0U || sys_mode == 1U) ? 7U : dbg.state;   /* 7 = MANUAL/IDLE */
      tel_steer = (int16_t)((dbg.steer >= 0.0f) ? (dbg.steer + 0.5f) : (dbg.steer - 0.5f));  /* st와 같은 프레임 스냅샷(테어링 방지) */
    }
    dbg.hw_motor = (uint32_t)uxTaskGetStackHighWaterMark(NULL);
  }
#endif
  /* USER CODE END StartDefaultTask */
}

void StartTask02(void *argument)
{
  /* USER CODE BEGIN StartTask02 */
  (void)argument;

#if MOTOR_TEST
  /* 모터 점검 모드: 측정/큐 불요 — MotorTask가 시퀀스 전담, 여기는 휴면 */
  for(;;) osDelay(1000);
#else
  /* 측정/필터 상태 (구 main.c 슈퍼루프에서 이동) — 제어 상태머신은 drive.c(MotorTask 문맥).
   * 정면/측면 median 윈도는 독립 노브다. 측면 ToF에도 단발 outlier 방어 계층을 유지한다. */
  static uint16_t hist_f[FRONT_MED_WIN];
  static uint16_t hist_l[SIDE_MED_WIN];
  static uint16_t hist_r[SIDE_MED_WIN];
  for (uint8_t i = 0U; i < FRONT_MED_WIN; i++)
      hist_f[i] = ULTRA_MAX_CM;
  for (uint8_t i = 0U; i < SIDE_MED_WIN; i++)
  {
      hist_l[i] = ULTRA_MAX_CM;
      hist_r[i] = ULTRA_MAX_CM;
  }
  static uint8_t  front_miss = 0;   /* 정면 에코 연속 미회신 (stale front 제거 및 전 센서 상실 판정 입력) */
  static uint8_t  tof_miss[2]  = {0, 0};   /* 좌/우 ToF I2C 에러 연속 카운트 (SIDE_FAIL_LIMIT 만료) */
  static uint8_t  tof_has_sample[2] = {0U, 0U};  /* 좌/우 PollRangeMM 성공 샘플 수신 여부 */
  static uint8_t  tof_susp_n[2] = {0U, 0U};      /* 좌/우 고립 초근접 연속 안정 카운트 (§5.21) */
  static uint16_t tof_susp_mm[2] = {0U, 0U};     /* 좌/우 마지막 suspect mm (지터 비교 기준) */
  static uint32_t tof_fresh[2] = {0, 0};   /* 좌/우 마지막 새 샘플 시각 (TOF_STALE_MS 정체 만료) */
  static uint8_t  imu_live = 0;     /* IMU 생존 게이트 */
  static uint8_t  imu_fail = 0;     /* 읽기 연속 실패 카운트 */
  static uint32_t t_imu_retry = 0;  /* 사망 후 재시도 타이머 */
  static uint32_t t_calib = 0;      /* CALIB_STAT 디버그 읽기 스로틀 */
  static uint32_t t_loop = 0;       /* 사이클 주기 측정 */
  static BNO055_Euler imu;          /* 최근 융합값 (read 실패 시 직전값 유지) */

  uint16_t f = ULTRA_MAX_CM, l = ULTRA_MAX_CM, r = ULTRA_MAX_CM;  /* 필터 출력 */
  uint16_t d_front_first;
  uint16_t d_front_second;
  uint16_t d_front_cycle;
  uint8_t  v_front_first;
  uint8_t  v_front_second;

  Ultra_Init(osThreadGetId());      /* TIM3 IC start(전방 CH1) + 측정 완료 flag 수신자 등록 */
  Encoder_Init();                   /* SG-207 휠 엔코더: TIM2 전체 런타임 구성 (CubeMX 미사용, 독립 타이머) */
  imu_live = dbg.imu_ok;            /* Init 성공했을 때만 생존 시작 (실패 시 거리-only 고정) */
  Init_ToF_Sensors();               /* XSHUT 순차 기동 + 좌측 주소 0x60 재배치 + 연속측정 시작 */
  tof_fresh[0] = HAL_GetTick();     /* 정체 만료 타이머 기준점 — 기동 직후 오탐 방지 */
  tof_fresh[1] = tof_fresh[0];

  for(;;)
  {
      uint32_t now = HAL_GetTick();
      dbg.loop_ms = now - t_loop;   /* 사이클 주기 미러 (front-left-front-right 반응지연 감시) */
      t_loop = now;

      /* Front is sampled twice around the left ToF poll for low brake latency.
       * Give the temporal median exactly one vote per SensorTask cycle: pushing
       * both echoes independently let one short floor-reflection episode fill
       * two of the three slots and issue a false danger brake.  The nearer of
       * two valid echoes represents the cycle so real obstacles remain the
       * conservative choice. */
      v_front_first = Ultra_Measure(MEAS_WAIT_MS, &d_front_first); /* front (TRIG PA5, ECHO TIM3_CH1) */
      /* Poll each continuously ranging ToF around the second front sample. */
      tof_record_side(&tof_left, tof_left_ok, hist_l, &tof_miss[0], &tof_has_sample[0],
                      &tof_fresh[0], &tof_susp_n[0], &tof_susp_mm[0], &dist_left, now);
      v_front_second = Ultra_Measure(MEAS_WAIT_MS, &d_front_second);

      uint8_t front_cycle_valid = (uint8_t)(v_front_first || v_front_second);
      d_front_cycle = ULTRA_MAX_CM;
      if (v_front_first && v_front_second)
          d_front_cycle = (d_front_first < d_front_second) ? d_front_first : d_front_second;
      else if (v_front_first)
          d_front_cycle = d_front_first;
      else if (v_front_second)
          d_front_cycle = d_front_second;

      /* §5.23: 직전 사이클 피치(~20ms 지연, 턱 이벤트 수백 ms 대비 무시 가능)로
       * 턱 위 전방 에코를 무효화. imu_live=0이면 게이트 없음. */
      if (imu_live && (imu.pitch > FRONT_PITCH_MAX_DEG
                    || imu.pitch < -FRONT_PITCH_MAX_DEG))
          front_cycle_valid = 0U;

      sensor_record_front(front_cycle_valid, d_front_cycle,
                          hist_f, &front_miss, &f);
      (void)sensor_put_front_danger_event(f, front_cycle_valid,
                                          front_miss, imu.heading);

      tof_record_side(&tof_right, tof_right_ok, hist_r, &tof_miss[1], &tof_has_sample[1],
                      &tof_fresh[1], &tof_susp_n[1], &tof_susp_mm[1], &dist_right, now);

      l = median_n(hist_l, SIDE_MED_WIN);   /* 측면 median 필터 계층 유지 (단발 outlier 방어) */
      r = median_n(hist_r, SIDE_MED_WIN);
      dbg.front = f; dbg.left = l; dbg.right = r;
      dbg.tof_st_l = tof_left.last_code;    /* SWD 진단: 개활 측면 쓰레기값 status 판별 (§5.20) */
      dbg.tof_st_r = tof_right.last_code;

      /* 3) IMU 샘플 (생존 게이트): 정상 시 매 사이클 heading 갱신. 연속 IMU_FAIL_LIMIT회 실패 →
       *    사망 선언 후 IMU_RETRY_MS 주기로만 재시도 — 죽은 IMU가 사이클마다 I2C timeout(10ms×2)을
       *    태워 반응지연 키우는 것 차단. CalibStatus는 디버그 전용이라 CALIB_POLL_MS 스로틀. */
      uint8_t imu_ctrl_live = 0U;   /* 이번 제어 프레임에서 새 heading을 읽었을 때만 1 */
      if (imu_live)
      {
          if (Sensor_ReadHeading(&imu))   /* 180° 재영점 적용 read (raw는 BNO055_ReadEuler) */
          {
              imu_fail = 0;
              imu_ctrl_live = 1U;
              dbg.heading = imu.heading;
              dbg.roll    = imu.roll;
              dbg.pitch   = imu.pitch;
          }
          else if (++imu_fail >= IMU_FAIL_LIMIT)
          {
              imu_live = 0;
              t_imu_retry = now;
          }
          if ((now - t_calib) >= CALIB_POLL_MS)
          {
              t_calib = now;
              dbg.imu_calib = BNO055_ReadCalibStatus();
          }
      }
      else if (dbg.imu_ok && (now - t_imu_retry) >= IMU_RETRY_MS)
      {
          /* Init 성공 이력 있을 때만 재시도 — Init 실패 상태의 garbage 읽기로 살아있다고
           * 오판하는 것 방지. 버스 wedge는 bno_rd 내부 복구(10회 실패→9클럭)와 협력 */
          t_imu_retry = now;
          if (Sensor_ReadHeading(&imu))   /* 재기동 read도 동일 영점 유지 (오프셋은 부팅 1회 래치) */
          {
              imu_live = 1;
              imu_fail = 0;
              imu_ctrl_live = 1U;
              dbg.heading = imu.heading;
              dbg.roll    = imu.roll;
              dbg.pitch   = imu.pitch;
          }
      }
      dbg.imu_live = imu_ctrl_live;

      uint32_t frame_now = HAL_GetTick();
      uint8_t left_valid = (uint8_t)(tof_left_ok
                                  && tof_has_sample[0]
                                  && tof_miss[0] < SIDE_FAIL_LIMIT
                                  && (frame_now - tof_fresh[0]) <= TOF_STALE_MS);
      uint8_t right_valid = (uint8_t)(tof_right_ok
                                   && tof_has_sample[1]
                                   && tof_miss[1] < SIDE_FAIL_LIMIT
                                   && (frame_now - tof_fresh[1]) <= TOF_STALE_MS);

      /* §5.51 (IMG_3189 17~18s): 방지턱 위에서 차체가 기울면 측면 ToF 빔도
       * 바닥/허공을 찍는다 — §5.23은 전방만 게이트해서, 턱 통과 중 쓰레기
       * 측면값으로 센터링이 조향해 착지 직후 벽에 박았다. 피치 초과 프레임은
       * 측면도 무효 (drive.c는 헤딩 축유지만으로 직진 통과, side_bias도
       * §5.49 규칙으로 자동 클리어 → 턱 위 롤 커밋 불가). IMU 사망 시 게이트
       * 자동 비활성 (백스톱 불변식). */
      if (imu_ctrl_live && (imu.pitch > FRONT_PITCH_MAX_DEG
                         || imu.pitch < -FRONT_PITCH_MAX_DEG))
      {
          left_valid = 0U;
          right_valid = 0U;
      }

      /* 3.5) 텔레메트리 센서 미러 (아키텍처 D4 — 본 태스크 단일 작성자).
       *      heading은 ×10 정수화(float printf 회피). side_valid는 양쪽 ToF가 실제 샘플을
       *      수신했고 오류 한도와 stale 기한 안에 있을 때만 표시한다. */
      {
          uint16_t hx = (uint16_t)((imu.heading * 10.0f) + 0.5f);
          if (hx >= 3600U) hx = (uint16_t)(hx - 3600U);
          tel_h_x10  = hx;
          tel_sflags = (uint8_t)((front_cycle_valid ? 0x01U : 0U)
                               | ((left_valid && right_valid) ? 0x02U : 0U)
                               | (imu_ctrl_live ? 0x04U : 0U));
      }

      /* 4) 제어 입력 스냅샷 → 큐 (값 복사 — MotorTask가 IWDG refresh + Drive_Update) */
      DriveInputs din;
      din.f          = f;
      din.l          = l;
      din.r          = r;
      din.f_valid    = front_cycle_valid;
      din.side_valid = 1U;           /* full-frame marker; per-channel validity is below */
      din.left_valid = left_valid;
      din.right_valid = right_valid;
      din.front_miss = front_miss;
      din.heading    = imu.heading;   /* imu_ctrl_live=0이면 drive.c가 무시(거리-only 강등) */
      din.imu_live   = imu_ctrl_live;
      din.now        = frame_now;
      if (osMessageQueuePut(driveQ, &din, 0U, 0U) != osOK) { dbg.q_drop++; }

      dbg.hw_sensor = (uint32_t)uxTaskGetStackHighWaterMark(NULL);

      /* 측면이 블로킹 대기(구 SIDE_WAIT_MS×2)에서 논블로킹 폴링으로 바뀌어 사라진 양보 시간 보상.
       * 루프 주기 ~20ms 유지 (ToF 버짓 ~33ms와 정합 — 과도 폴링/CPU 독점 방지) */
      osDelay(TOF_LOOP_DELAY_MS);
  }
#endif
  /* USER CODE END StartTask02 */
}

/* USER CODE BEGIN Header_StartTask03 */
/**
* @brief Function implementing the BluetoothTask thread.
*        RX: 레거시 1바이트 + '#KEY=VAL' 라인 / TX: 텔레메트리 프레임 tel_hz Hz (IT 논블로킹).
*        dash_board.html(HM-10 BLE 콘솔)과 프로토콜 1:1 — 아키텍처 §4.
* @param argument: Not used
* @retval None
*/
/* USER CODE END Header_StartTask03 */
void StartTask03(void *argument)
{
  /* USER CODE BEGIN StartTask03 */
  (void)argument;
  uint8_t  cmd;
  uint32_t t_tx = HAL_GetTick();

  for(;;)
  {
    /* 큐 대기시간 = 다음 프레임 마감까지 (상한 100ms) — 명령은 즉시 처리, TX 스케줄은 지킴 */
    uint32_t now    = HAL_GetTick();
    uint32_t per_ms = 1000U / ((tel_hz == 0U) ? 1U : (uint32_t)tel_hz);
    uint32_t wait   = 100U;
    if (tel_on)
    {
        uint32_t elapsed = now - t_tx;
        wait = (elapsed >= per_ms) ? 0U : (per_ms - elapsed);
        if (wait > 100U) wait = 100U;
    }

    if (osMessageQueueGet(uartQHandle, &cmd, NULL, wait) == osOK)
    {
        do { BT_HandleByte(cmd); }
        while (osMessageQueueGet(uartQHandle, &cmd, NULL, 0U) == osOK);   /* 백로그 소진 */
    }

    now = HAL_GetTick();
    if (bt_lmode && (now - bt_t_line) > BT_LINE_TIMEOUT_MS)
        bt_lmode = 0U;   /* 미완성 '#' 라인 만료 → 버퍼 리셋 (§4.3) */

    if (tel_on && (now - t_tx) >= per_ms)
    {
        t_tx = now;
        BT_SendFrame();
    }
  }
  /* USER CODE END StartTask03 */
}

/* USER CODE BEGIN Application */

/* BNO055 INT(PA0/EXTI0) 콜백 (구 main.c에서 이동).
 * 주의: 융합 데이터엔 전용 DRDY INT가 없음 → heading은 SensorTask에서 polling.
 *       이 콜백은 INT 배선 검증/모션(any-motion 등) 트리거용 카운터. */
void HAL_GPIO_EXTI_Callback(uint16_t GPIO_Pin)
{
    if (GPIO_Pin == IMU_INT_Pin)
    {
        dbg.imu_evt++;
    }
}

/* 블루투스 UART(USART1) 1바이트 수신 완료 콜백 (ISR 문맥).
 * 수신 바이트를 uartQ로 넘기고 즉시 다음 1바이트 IT 재무장 → 연속 수신.
 * osMessageQueuePut timeout 0 = ISR 안전(xQueueSendFromISR). 큐 가득 시 바이트는
 * 버려도 재무장은 무조건 수행해 수신이 멎지 않게 함 */
void HAL_UART_RxCpltCallback(UART_HandleTypeDef *huart)
{
    if (huart->Instance == USART1)
    {
        (void)osMessageQueuePut(uartQHandle, (const void *)&bt_rx_byte, 0U, 0U);
        HAL_UART_Receive_IT(&huart1, (uint8_t *)&bt_rx_byte, 1);
    }
}

/* 블루투스 UART(USART1) 에러 콜백 (ISR 문맥).
 * HAL은 ORE(overrun)/FE(framing)/NE(noise) 발생 시 수신을 중단하고 state=READY로 둔 뒤
 * 이 콜백만 호출 → 여기서 재무장하지 않으면 수신이 영구 정지(리셋 전까지 BT 먹통).
 * 모터 구동 전류로 인한 5V 브라운아웃/라인 노이즈로 바이트가 깨질 때가 트리거.
 * 에러 플래그 클리어 후 1바이트 IT를 다시 무장해 수신이 스스로 복구되게 함
 * (RxCpltCallback의 "무조건 재무장" 패턴과 일관). dbg.bt_err = SWD 관찰용 카운터. */
void HAL_UART_ErrorCallback(UART_HandleTypeDef *huart)
{
    if (huart->Instance == USART1)
    {
        dbg.bt_err++;
        __HAL_UART_CLEAR_OREFLAG(&huart1);   /* SR read + DR read로 ORE 해제 */
        __HAL_UART_CLEAR_NEFLAG(&huart1);
        __HAL_UART_CLEAR_FEFLAG(&huart1);
        __HAL_UART_CLEAR_PEFLAG(&huart1);
        huart1.ErrorCode = HAL_UART_ERROR_NONE;
        HAL_UART_Receive_IT(&huart1, (uint8_t *)&bt_rx_byte, 1);
    }
}

/* USER CODE END Application */
